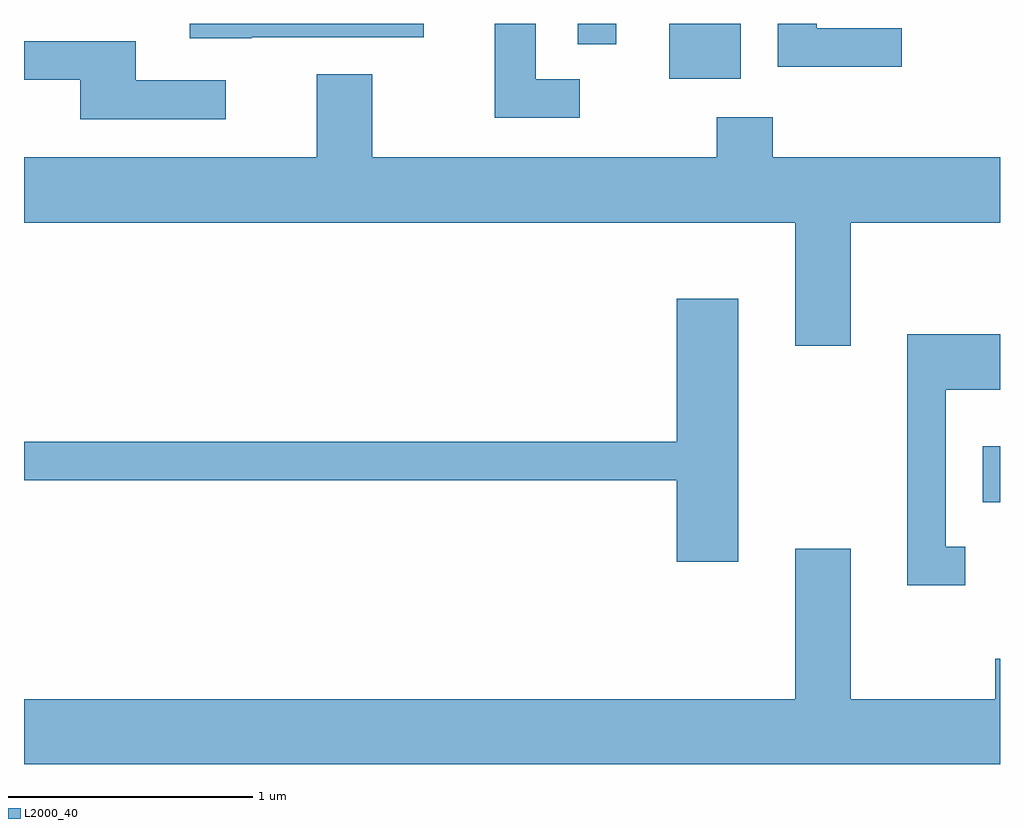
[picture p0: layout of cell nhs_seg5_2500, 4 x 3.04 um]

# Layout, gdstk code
import gdstk
lib = gdstk.Library(unit=1e-6, precision=1e-09)
def R(c, l, rs):  # rectangles x0, y0, x1, y1
    for r in rs: c.add(gdstk.rectangle(r[:2], r[2:], *l))
def P(c, l, *ps):  # polygons
    for p in ps: c.add(gdstk.Polygon(p, *l))
L2000_40 = (2000, 40)

nhs_seg5_2500 = lib.new_cell('nhs_seg5_2500')
R(nhs_seg5_2500, L2000_40, [(263.541,1440.111,263.611,1440.339), (262.256,1441.846,262.549,1442.072), (261.881,1441.988,262.039,1442.072)])
P(nhs_seg5_2500, L2000_40, [(261.888,1441.844),(261.709,1441.844),(261.709,1442.072),(261.541,1442.072),(261.541,1441.686),(261.888,1441.686)],
  [(263.208,1442.054),(262.859,1442.054),(262.859,1442.072),(262.701,1442.072),(262.701,1441.896),(263.208,1441.896)],
  [(260.545,1442.016),(261.249,1442.016),(261.249,1442.072),(260.291,1442.072),(260.291,1442.011),(260.545,1442.011)],
  [(260.438,1441.839),(260.069,1441.839),(260.069,1441.999),(259.611,1441.999),(259.611,1441.841),(259.841,1441.841),(259.841,1441.681),(260.438,1441.681)],
  [(262.999,1441.256),(263.611,1441.256),(263.611,1441.524),(262.679,1441.524),(262.679,1441.689),(262.451,1441.689),(262.451,1441.524),(261.039,1441.524),(261.039,1441.864),(260.811,1441.864),(260.811,1441.524),(259.611,1441.524),(259.611,1441.256),(262.771,1441.256),(262.771,1440.751),(262.999,1440.751)],
  [(262.539,1440.944),(262.286,1440.944),(262.286,1440.359),(259.611,1440.359),(259.611,1440.201),(262.286,1440.201),(262.286,1439.866),(262.539,1439.866)],
  [(263.468,1439.929),(263.389,1439.929),(263.389,1440.571),(263.611,1440.571),(263.611,1440.799),(263.231,1440.799),(263.231,1439.771),(263.468,1439.771)],
  [(263.611,1439.469),(263.591,1439.469),(263.591,1439.304),(262.999,1439.304),(262.999,1439.919),(262.771,1439.919),(262.771,1439.304),(259.611,1439.304),(259.611,1439.036),(263.611,1439.036)])

lib.write_gds('nhs_seg5_2500.gds')
